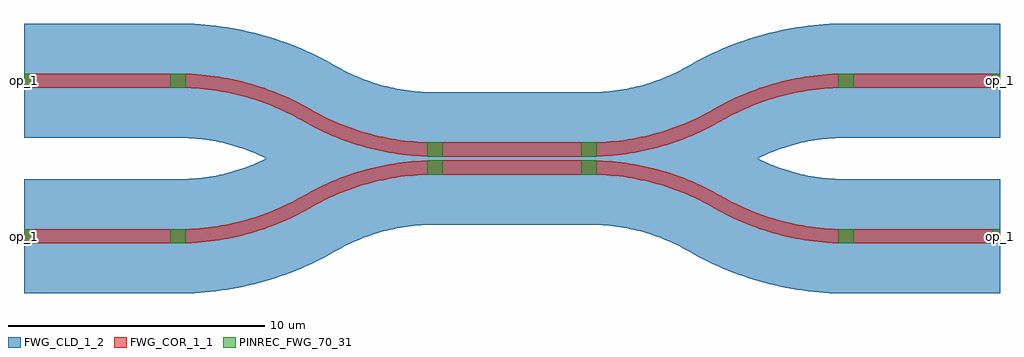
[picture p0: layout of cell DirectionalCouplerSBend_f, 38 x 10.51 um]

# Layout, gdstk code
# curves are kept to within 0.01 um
import gdstk
lib = gdstk.Library(unit=1e-6, precision=1e-09)
def R(c, l, rs):  # rectangles x0, y0, x1, y1
    for r in rs: c.add(gdstk.rectangle(r[:2], r[2:], *l))
def P(c, l, *ps):  # polygons
    for p in ps: c.add(gdstk.Polygon(p, *l))
FWG_COR_1_1 = (1, 1)
FWG_CLD_1_2 = (1, 2)
PINREC_FWG_70_31 = (70, 31)

wg_x2 = lib.new_cell('wg_x2')
R(wg_x2, FWG_COR_1_1, [(13,-3.304,19,-2.754)])
P(wg_x2, FWG_CLD_1_2, [(13,-0.804),(19,-0.804),(19,-2.754),(19,-3.304),(19,-5.254),(13,-5.254),(13,-3.304),(13,-2.754)])
R(wg_x2, PINREC_FWG_70_31, [(13,-3.304,13.3,-2.754), (18.7,-3.304,19,-2.754)])
wg_x2.add(gdstk.Label('op_0', (13,-3.029), layer=70, texttype=41))
wg_x2.add(gdstk.Label('op_1', (19,-3.029), layer=70, texttype=41))

straight_coupler_x1 = lib.new_cell('Straight_coupler_x1')
R(straight_coupler_x1, PINREC_FWG_70_31, [(13,-3.304,13.3,-2.754), (18.7,-3.304,19,-2.754)])
straight_coupler_x1.add(gdstk.Reference(wg_x2, (0,0)))
straight_coupler_x1.add(gdstk.Label('op_0', (13,-3.029), layer=70, texttype=41))
straight_coupler_x1.add(gdstk.Label('op_1', (19,-3.029), layer=70, texttype=41))

wg_x4 = lib.new_cell('wg_x4')
P(wg_x4, FWG_COR_1_1, [(-13,-2.754),(-12.322,-2.731),(-11.479,-2.635),(-10.647,-2.466),(-9.995,-2.279),(-9.515,-2.109),(-8.89,-1.843),(-8.434,-1.616),(-7.665,-1.195),(-7.015,-0.892),(-6.345,-0.635),(-5.659,-0.425),(-4.961,-0.264),(-4.43,-0.175),(-3.717,-0.1),(-3,-0.075),(-3,-0.625),(-3.848,-0.662),(-4.521,-0.745),(-5.188,-0.874),(-6.005,-1.101),(-6.643,-1.333),(-7.11,-1.536),(-7.566,-1.763),(-8.335,-2.185),(-8.985,-2.488),(-9.655,-2.745),(-10.341,-2.954),(-11.039,-3.116),(-11.57,-3.205),(-12.283,-3.279),(-13,-3.304)])
P(wg_x4, FWG_CLD_1_2, [(-13,-0.804),(-12.322,-0.775),(-11.784,-0.709),(-11.251,-0.605),(-10.597,-0.424),(-10.087,-0.238),(-9.714,-0.076),(-9.35,0.106),(-8.55,0.543),(-7.777,0.903),(-6.98,1.209),(-6.164,1.459),(-5.333,1.65),(-4.49,1.784),(-3.853,1.845),(-3,1.875),(-3,-2.575),(-3.542,-2.594),(-4.216,-2.671),(-4.749,-2.774),(-5.403,-2.956),(-5.913,-3.141),(-6.286,-3.304),(-6.65,-3.485),(-7.45,-3.922),(-8.223,-4.283),(-9.02,-4.589),(-9.836,-4.838),(-10.667,-5.03),(-11.299,-5.136),(-12.147,-5.225),(-13,-5.254)])
R(wg_x4, PINREC_FWG_70_31, [(-13,-3.304,-12.7,-2.754), (-3.3,-0.625,-3,-0.075)])
wg_x4.add(gdstk.Label('op_0', (-13,-3.029), layer=70, texttype=41))
wg_x4.add(gdstk.Label('op_1', (-3,-0.35), layer=70, texttype=41))

sbendcircular_sbend_x1 = lib.new_cell('SBendCircular_sbend_x1')
R(sbendcircular_sbend_x1, PINREC_FWG_70_31, [(-13,-3.304,-12.7,-2.754), (-3.3,-0.625,-3,-0.075)])
sbendcircular_sbend_x1.add(gdstk.Reference(wg_x4, (0,0)))
sbendcircular_sbend_x1.add(gdstk.Label('op_0', (-13,-3.029), layer=70, texttype=41))
sbendcircular_sbend_x1.add(gdstk.Label('op_1', (-3,-0.35), layer=70, texttype=41))

c_wg = lib.new_cell('wg')
R(c_wg, FWG_COR_1_1, [(0,-0.275,6,0.275)])
P(c_wg, FWG_CLD_1_2, [(0,2.225),(6,2.225),(6,0.275),(6,-0.275),(6,-2.225),(0,-2.225),(0,-0.275),(0,0.275)])
R(c_wg, PINREC_FWG_70_31, [(0,-0.275,0.3,0.275), (5.7,-0.275,6,0.275)])
c_wg.add(gdstk.Label('op_0', (0,0), layer=70, texttype=41))
c_wg.add(gdstk.Label('op_1', (6,0), layer=70, texttype=41))

straight_coupler = lib.new_cell('Straight_coupler')
R(straight_coupler, PINREC_FWG_70_31, [(0,-0.275,0.3,0.275), (5.7,-0.275,6,0.275)])
straight_coupler.add(gdstk.Reference(c_wg, (0,0)))
straight_coupler.add(gdstk.Label('op_0', (0,0), layer=70, texttype=41))
straight_coupler.add(gdstk.Label('op_1', (6,0), layer=70, texttype=41))

wg_x3 = lib.new_cell('wg_x3')
P(wg_x3, FWG_COR_1_1, [(13,-2.754),(12.322,-2.731),(11.479,-2.635),(10.647,-2.466),(9.995,-2.279),(9.515,-2.109),(8.89,-1.843),(8.434,-1.616),(7.665,-1.195),(7.015,-0.892),(6.345,-0.635),(5.659,-0.425),(4.961,-0.264),(4.43,-0.175),(3.717,-0.1),(3,-0.075),(3,-0.625),(3.848,-0.662),(4.521,-0.745),(5.188,-0.874),(6.005,-1.101),(6.643,-1.333),(7.11,-1.536),(7.566,-1.763),(8.335,-2.185),(8.985,-2.488),(9.655,-2.745),(10.341,-2.954),(11.039,-3.116),(11.57,-3.205),(12.283,-3.279),(13,-3.304)])
P(wg_x3, FWG_CLD_1_2, [(13,-0.804),(12.322,-0.775),(11.784,-0.709),(11.251,-0.605),(10.597,-0.424),(10.087,-0.238),(9.714,-0.076),(9.35,0.106),(8.55,0.543),(7.777,0.903),(6.98,1.209),(6.164,1.459),(5.333,1.65),(4.49,1.784),(3.853,1.845),(3,1.875),(3,-2.575),(3.542,-2.594),(4.216,-2.671),(4.749,-2.774),(5.403,-2.956),(5.913,-3.141),(6.286,-3.304),(6.65,-3.485),(7.45,-3.922),(8.223,-4.283),(9.02,-4.589),(9.836,-4.838),(10.667,-5.03),(11.299,-5.136),(12.147,-5.225),(13,-5.254)])
R(wg_x3, PINREC_FWG_70_31, [(12.7,-3.304,13,-2.754), (3,-0.625,3.3,-0.075)])
wg_x3.add(gdstk.Label('op_0', (13,-3.029), layer=70, texttype=41))
wg_x3.add(gdstk.Label('op_1', (3,-0.35), layer=70, texttype=41))

sbendcircular_sbend = lib.new_cell('SBendCircular_sbend')
R(sbendcircular_sbend, PINREC_FWG_70_31, [(12.7,-3.304,13,-2.754), (3,-0.625,3.3,-0.075)])
sbendcircular_sbend.add(gdstk.Reference(wg_x3, (0,0)))
sbendcircular_sbend.add(gdstk.Label('op_0', (13,-3.029), layer=70, texttype=41))
sbendcircular_sbend.add(gdstk.Label('op_1', (3,-0.35), layer=70, texttype=41))

wg_x1 = lib.new_cell('wg_x1')
R(wg_x1, FWG_COR_1_1, [(-19,-3.304,-13,-2.754)])
P(wg_x1, FWG_CLD_1_2, [(-13,-0.804),(-19,-0.804),(-19,-2.754),(-19,-3.304),(-19,-5.254),(-13,-5.254),(-13,-3.304),(-13,-2.754)])
R(wg_x1, PINREC_FWG_70_31, [(-19,-3.304,-18.7,-2.754), (-13.3,-3.304,-13,-2.754)])
wg_x1.add(gdstk.Label('op_0', (-13,-3.029), layer=70, texttype=41))
wg_x1.add(gdstk.Label('op_1', (-19,-3.029), layer=70, texttype=41))

straight_coupler_x2 = lib.new_cell('Straight_coupler_x2')
R(straight_coupler_x2, PINREC_FWG_70_31, [(-19,-3.304,-18.7,-2.754), (-13.3,-3.304,-13,-2.754)])
straight_coupler_x2.add(gdstk.Reference(wg_x1, (0,0)))
straight_coupler_x2.add(gdstk.Label('op_0', (-13,-3.029), layer=70, texttype=41))
straight_coupler_x2.add(gdstk.Label('op_1', (-19,-3.029), layer=70, texttype=41))

bottom = lib.new_cell('bottom')
R(bottom, PINREC_FWG_70_31, [(-19,-3.304,-18.7,-2.754), (18.7,-3.304,19,-2.754)])
bottom.add(gdstk.Reference(straight_coupler_x1, (0,0)))
bottom.add(gdstk.Reference(sbendcircular_sbend_x1, (0,0)))
bottom.add(gdstk.Reference(straight_coupler, (-3,-0.35)))
bottom.add(gdstk.Reference(sbendcircular_sbend, (0,0)))
bottom.add(gdstk.Reference(straight_coupler_x2, (0,0)))
bottom.add(gdstk.Label('op_1', (-19,-3.029), layer=70, texttype=41))
bottom.add(gdstk.Label('op_1', (19,-3.029), layer=70, texttype=41))

directionalcouplersbend_ = lib.new_cell('DirectionalCouplerSBend_f')
R(directionalcouplersbend_, PINREC_FWG_70_31, [(-19,-3.304,-18.7,-2.754), (18.7,-3.304,19,-2.754), (-19,2.754,-18.7,3.304), (18.7,2.754,19,3.304)])
directionalcouplersbend_.add(gdstk.Reference(bottom, (0,0)))
directionalcouplersbend_.add(gdstk.Reference(bottom, (0,0), x_reflection=True))
directionalcouplersbend_.add(gdstk.Label('op_1', (-19,3.029), layer=70, texttype=41))
directionalcouplersbend_.add(gdstk.Label('op_1', (-19,-3.029), layer=70, texttype=41))
directionalcouplersbend_.add(gdstk.Label('op_1', (19,-3.029), layer=70, texttype=41))
directionalcouplersbend_.add(gdstk.Label('op_1', (19,3.029), layer=70, texttype=41))

lib.write_gds('DirectionalCouplerSBend_f.gds')
